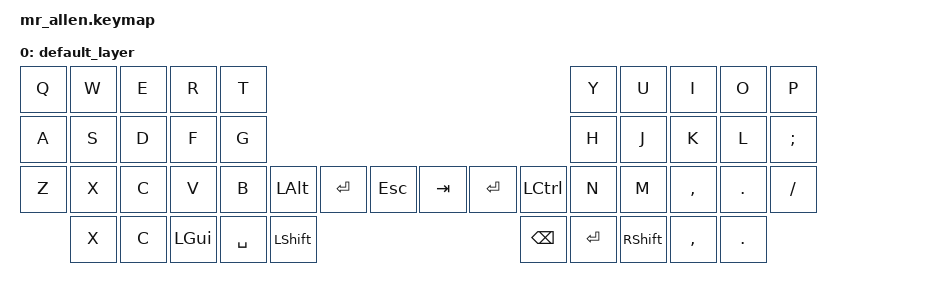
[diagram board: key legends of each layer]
#include <behaviors.dtsi>
#include <dt-bindings/zmk/keys.h>

/ {
    keymap {
        compatible = "zmk,keymap";

        default_layer {
// | SW5  | SW4  | SW3  | SW2  | SW1  |                                            | SW1  | SW2  | SW3  | SW4  | SW5  |
// | SW10 | SW9  | SW8  | SW7  | SW6  |                                            | SW6  | SW7  | SW8  | SW9  | SW10 |
// | SW15 | SW14 | SW13 | SW12 | SW11 | SW18 | SW19 | SW20 |  | SW20 | SW19 | SW18 | SW11 | SW12 | SW13 | SW14 | SW15 |
//        | SW17 | SW16 |               SW21 | SW22 | SW23 |  | SW23 | SW22 | SW21 |             | SW16 | SW17 |
            bindings = <
    &kp Q  &kp W  &kp E  &kp R  &kp T                                                                 &kp Y  &kp U  &kp I      &kp O    &kp P
    &kp A  &kp S  &kp D  &kp F  &kp G                                                                 &kp H  &kp J  &kp K      &kp L    &kp SEMI
    &kp Z  &kp X  &kp C  &kp V  &kp B  &kp LALT   &kp RET   &kp ESC     &kp TAB   &kp RET   &kp LCTRL   &kp N  &kp M  &kp COMMA  &kp DOT  &kp FSLH
           &kp X  &kp C              &kp LGUI   &kp SPACE  &kp LSHIFT   &kp BKSP  &kp RET  &kp RSHIFT                &kp COMMA  &kp DOT
            >;
        };
    };
};
